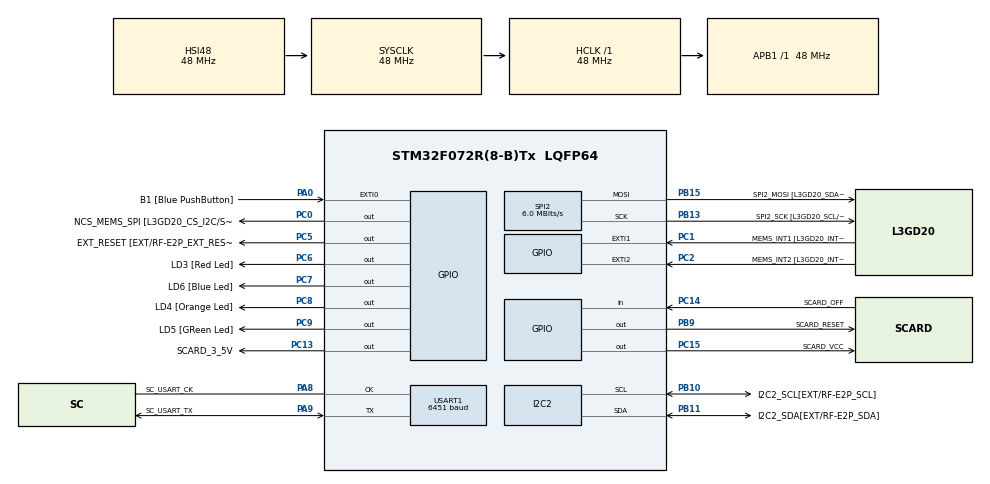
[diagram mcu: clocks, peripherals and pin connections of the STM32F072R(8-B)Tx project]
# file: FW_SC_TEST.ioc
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I2C2.Timing=0x20303E5D
Mcu.Family=STM32F0
Mcu.Name=STM32F072R(8-B)Tx
Mcu.Package=LQFP64
PA0.GPIO_Label=B1 [Blue PushButton]
PA0.GPIO_ModeDefaultEXTI=GPIO_MODE_EVT_RISING
PA0.Signal=GPXTI0
PA11.GPIO_Label=USBF4_DM
PA11.Signal=USB_DM
PA12.GPIO_Label=USBF4_DP
PA12.Signal=USB_DP
PA13.GPIO_Label=SWDIO
PA13.Signal=SYS_SWDIO
PA14.GPIO_Label=SWCLK
PA14.Signal=SYS_SWCLK
PA2.Signal=TSC_G1_IO3
PA3.Signal=TSC_G1_IO4
PA6.Signal=TSC_G2_IO3
PA7.Signal=TSC_G2_IO4
PA8.GPIO_Label=SC_USART_CK
PA8.Mode=SmartCard_With_Clock
PA8.Signal=USART1_CK
PA9.GPIO_Label=SC_USART_TX
PA9.Mode=SmartCard_With_Clock
PA9.Signal=USART1_TX
PB0.Signal=TSC_G3_IO2
PB1.Signal=TSC_G3_IO3
PB10.GPIO_Label=I2C2_SCL[EXT/RF-E2P_SCL]
PB10.Mode=I2C
PB10.Signal=I2C2_SCL
PB11.GPIO_Label=I2C2_SDA[EXT/RF-E2P_SDA]
PB11.Mode=I2C
PB11.Signal=I2C2_SDA
PB13.GPIO_Label=SPI2_SCK [L3GD20_SCL/SPC,LCD_SCL]
PB13.Mode=TX_Only_Simplex_Unidirect_Master
PB13.Signal=SPI2_SCK
PB14.GPIO_Label=SPI2_MISO [L3GD20_SDO]
PB14.Signal=SPI2_MISO
PB15.GPIO_Label=SPI2_MOSI [L3GD20_SDA/SDI, LCD_SDA]
PB15.Mode=TX_Only_Simplex_Unidirect_Master
PB15.Signal=SPI2_MOSI
PB9.GPIO_Label=SCARD_RESET
PB9.GPIO_Speed=GPIO_SPEED_FREQ_MEDIUM
PB9.PinState=GPIO_PIN_SET
PB9.Signal=GPIO_Output
PC0.GPIO_Label=NCS_MEMS_SPI [L3GD20_CS_I2C/SPI]
PC0.Signal=GPIO_Output
PC1.GPIO_Label=MEMS_INT1 [L3GD20_INT1]
PC1.GPIO_ModeDefaultEXTI=GPIO_MODE_EVT_RISING
PC1.Signal=GPXTI1
PC13.GPIO_Label=SCARD_3_5V
PC13.Signal=GPIO_Output
PC14-OSC32_IN.GPIO_Label=SCARD_OFF
PC14-OSC32_IN.Signal=GPIO_Input
PC15-OSC32_OUT.GPIO_Label=SCARD_VCC
PC15-OSC32_OUT.PinState=GPIO_PIN_SET
PC15-OSC32_OUT.Signal=GPIO_Output
PC2.GPIO_Label=MEMS_INT2 [L3GD20_INT2]
PC2.GPIO_ModeDefaultEXTI=GPIO_MODE_EVT_RISING
PC2.Signal=GPXTI2
PC5.GPIO_Label=EXT_RESET [EXT/RF-E2P_EXT_RESET]
PC5.Signal=GPIO_Output
PC6.GPIO_Label=LD3 [Red Led]
PC6.Signal=GPIO_Output
PC7.GPIO_Label=LD6 [Blue Led]
PC7.Signal=GPIO_Output
PC8.GPIO_Label=LD4 [Orange Led]
PC8.Signal=GPIO_Output
PC9.GPIO_Label=LD5 [GReen Led]
PC9.Signal=GPIO_Output
ProjectManager.HeapSize=0x200
ProjectManager.StackSize=0x400
ProjectManager.TargetToolchain=MDK-ARM V5
RCC.AHBFreq_Value=48000000
RCC.APB1Freq_Value=48000000
RCC.APB1TimFreq_Value=48000000
RCC.FLatency=FLASH_LATENCY_1
RCC.HCLKFreq_Value=48000000
RCC.SYSCLKFreq_VALUE=48000000
RCC.SYSCLKSource=RCC_SYSCLKSOURCE_HSI48
RCC.Usart1ClockSelection=RCC_USART1CLKSOURCE_SYSCLK
SPI2.BaudRatePrescaler=SPI_BAUDRATEPRESCALER_8
SPI2.CalculateBaudRate=6.0 MBits/s
SPI2.DataSize=SPI_DATASIZE_8BIT
SPI2.Direction=SPI_DIRECTION_2LINES
SPI2.Mode=SPI_MODE_MASTER
SPI2.NSSPMode=SPI_NSS_PULSE_DISABLE
SPI2.VirtualType=VM_MASTER
USART1.AutoRetryCount=3
USART1.BaudRate=6451
USART1.BlockLength=16
USART1.CLKLastBit=SMARTCARD_LASTBIT_DISABLE
USART1.CLKPhase=SMARTCARD_PHASE_1EDGE
USART1.CLKPolarity=SMARTCARD_POLARITY_LOW
USART1.CalculateSpeed=2.4 MHz
USART1.DMADisableonRxErrorParam=SMARTCARD_ADVFEATURE_DMA_ENABLEONRXERROR
USART1.DataInvertParam=SMARTCARD_ADVFEATURE_DATAINV_DISABLE
USART1.GuardTime=2
USART1.MSBFirstParam=SMARTCARD_ADVFEATURE_MSBFIRST_DISABLE
USART1.OneBitSampling=SMARTCARD_ONE_BIT_SAMPLE_DISABLE
USART1.OverrunDisableParam=SMARTCARD_ADVFEATURE_OVERRUN_ENABLE
USART1.Parity=PARITY_EVEN
USART1.Prescaler=10
USART1.RxPinLevelInvertParam=SMARTCARD_ADVFEATURE_RXINV_DISABLE
USART1.StopBits=STOPBITS_1_5
USART1.SwapParam=SMARTCARD_ADVFEATURE_SWAP_DISABLE
USART1.TxPinLevelInvertParam=SMARTCARD_ADVFEATURE_TXINV_DISABLE
USART1.VirtualClockMode=VM_SMARTCARD
USART1.VirtualMode-SmartCard_With_Clock=VM_SMARTCARD
USART1.WordLength=WORDLENGTH_9B
board=FW_SC_TEST

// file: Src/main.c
/**
  ******************************************************************************
  * File Name          : main.c
  * Description        : Main program body
  ******************************************************************************
  ** This notice applies to any and all portions of this file
  * that are not between comment pairs USER CODE BEGIN and
  * USER CODE END. Other portions of this file, whether
  * inserted by the user or by software development tools
  * are owned by their respective copyright owners.
  *
  * COPYRIGHT(c) 2017 STMicroelectronics
  *
  * Redistribution and use in source and binary forms, with or without modification,
  * are permitted provided that the following conditions are met:
  *   1. Redistributions of source code must retain the above copyright notice,
  *      this list of conditions and the following disclaimer.
  *   2. Redistributions in binary form must reproduce the above copyright notice,
  *      this list of conditions and the following disclaimer in the documentation
  *      and/or other materials provided with the distribution.
  *   3. Neither the name of STMicroelectronics nor the names of its contributors
  *      may be used to endorse or promote products derived from this software
  *      without specific prior written permission.
  *
  * THIS SOFTWARE IS PROVIDED BY THE COPYRIGHT HOLDERS AND CONTRIBUTORS "AS IS"
  * AND ANY EXPRESS OR IMPLIED WARRANTIES, INCLUDING, BUT NOT LIMITED TO, THE
  * IMPLIED WARRANTIES OF MERCHANTABILITY AND FITNESS FOR A PARTICULAR PURPOSE ARE
  * DISCLAIMED. IN NO EVENT SHALL THE COPYRIGHT HOLDER OR CONTRIBUTORS BE LIABLE
  * FOR ANY DIRECT, INDIRECT, INCIDENTAL, SPECIAL, EXEMPLARY, OR CONSEQUENTIAL
  * DAMAGES (INCLUDING, BUT NOT LIMITED TO, PROCUREMENT OF SUBSTITUTE GOODS OR
  * SERVICES; LOSS OF USE, DATA, OR PROFITS; OR BUSINESS INTERRUPTION) HOWEVER
  * CAUSED AND ON ANY THEORY OF LIABILITY, WHETHER IN CONTRACT, STRICT LIABILITY,
  * OR TORT (INCLUDING NEGLIGENCE OR OTHERWISE) ARISING IN ANY WAY OUT OF THE USE
  * OF THIS SOFTWARE, EVEN IF ADVISED OF THE POSSIBILITY OF SUCH DAMAGE.
  *
  ******************************************************************************
  */
#include "main.h"
#include "stm32f0xx_hal.h"
#include "i2c.h"
#include "spi.h"
#include "usart.h"
#include "gpio.h"

/* USER CODE BEGIN PV */
/* Private variables ---------------------------------------------------------*/
#define SMARTCARD_HANDLE hsmartcard1
extern SMARTCARD_HandleTypeDef hsmartcard1;

/* USER CODE END PV */

void SystemClock_Config(void);

/* USER CODE BEGIN PFP */
/* Private function prototypes -----------------------------------------------*/
#define SC_VOLTAGE_5V GPIO_PIN_SET
#define SC_VOLTAGE_3V GPIO_PIN_RESET

#define SC_VoltageConfig5V()  HAL_GPIO_WritePin(SCARD_3_5V_GPIO_Port, SCARD_3_5V_Pin, GPIO_PIN_SET)
#define SC_VoltageConfig3V()  HAL_GPIO_WritePin(SCARD_3_5V_GPIO_Port, SCARD_3_5V_Pin, GPIO_PIN_RESET)

#define SC_PowerCmdHigh()     HAL_GPIO_WritePin(SCARD_VCC_GPIO_Port, SCARD_VCC_Pin, GPIO_PIN_SET)
#define SC_PowerCmdLow()      HAL_GPIO_WritePin(SCARD_VCC_GPIO_Port, SCARD_VCC_Pin, GPIO_PIN_RESET)

#define SC_ResetHigh()        HAL_GPIO_WritePin(SCARD_RESET_GPIO_Port, SCARD_RESET_Pin, GPIO_PIN_SET)
#define SC_ResetLow()         HAL_GPIO_WritePin(SCARD_RESET_GPIO_Port, SCARD_RESET_Pin, GPIO_PIN_RESET)

#define GREEN_LED_ON() HAL_GPIO_WritePin(LD5_GPIO_Port, LD5_Pin, GPIO_PIN_SET )
#define GREEN_LED_OFF() HAL_GPIO_WritePin(LD5_GPIO_Port, LD5_Pin, GPIO_PIN_RESET )
#define RED_LED_ON() HAL_GPIO_WritePin(LD3_GPIO_Port, LD3_Pin, GPIO_PIN_SET )
#define RED_LED_OFF() HAL_GPIO_WritePin(LD3_GPIO_Port, LD3_Pin, GPIO_PIN_RESET )
#define BLUE_LED_ON() HAL_GPIO_WritePin(LD6_GPIO_Port, LD6_Pin, GPIO_PIN_SET )
#define BLUE_LED_OFF() HAL_GPIO_WritePin(LD6_GPIO_Port, LD6_Pin, GPIO_PIN_RESET )

static int8_t SC_Detect(void)
{
   return (HAL_GPIO_ReadPin(SCARD_OFF_GPIO_Port, SCARD_OFF_Pin) == GPIO_PIN_SET );
}
void SC_PowerOff(void)
{
   SC_ResetLow();
   /* Disable CMDVCC */
   SC_PowerCmdHigh();
}

/* USER CODE END PFP */

/* USER CODE BEGIN 0 */
int state = 0;
uint8_t ATR[16];
uint8_t ATR_length;
#define ATR_MAX_LENGTH 16
uint8_t command[5] = { //// CLA, INS, P1, P2, LEN
   0,
   0xB6, // read system
   0,    // add High
   0x0C, // address Low
   4  // read 4 bytes
};
uint8_t manu[7];
static void SC_SendByteCard(uint8_t SCData)
{
   unsigned char ch;
   while(SC_Detect()) {
      HAL_SMARTCARD_Transmit(&SMARTCARD_HANDLE, &SCData, 1, 300);
      if ( __HAL_SMARTCARD_GET_FLAG(&SMARTCARD_HANDLE, SMARTCARD_FLAG_FE) == SET) {
         ch = SMARTCARD_HANDLE.Instance->RDR;
         continue;
      }
      /* If a Noise error is signaled by the card */
      do {
         /* Clear the UART1 Frame noise flag */
         ch = SMARTCARD_HANDLE.Instance->RDR;
         if ( !SC_Detect()) break;
      } while (__HAL_SMARTCARD_GET_FLAG(&SMARTCARD_HANDLE, SMARTCARD_FLAG_NE) == SET);
      break;
   }
}
void ISO_send_command(uint8_t *command, uint8_t len )
{
   uint16_t i;
   for ( i = 0; i < len; i ++ ) {
      SC_SendByteCard( *command++ );
   }
}
/* USER CODE END 0 */

int main(void)
{

  /* MCU Configuration----------------------------------------------------------*/

  /* Reset of all peripherals, Initializes the Flash interface and the Systick. */
  HAL_Init();

  /* Configure the system clock */
  SystemClock_Config();

  /* Initialize all configured peripherals */
  MX_GPIO_Init();
  MX_I2C2_Init();
  MX_SPI2_Init();
  MX_USART1_SMARTCARD_Init();

  /* USER CODE BEGIN 2 */
   SC_PowerOff();
   /* Select 3 V for smart card */
   SC_VoltageConfig3V();

  GREEN_LED_ON();
  RED_LED_ON();
  BLUE_LED_ON();
  HAL_Delay(1000);
  GREEN_LED_OFF();
  RED_LED_OFF();
  BLUE_LED_OFF();
  /* USER CODE END 2 */

  /* Infinite loop */
  /* USER CODE BEGIN WHILE */
  while (1)
  {
      HAL_StatusTypeDef status;
  /* USER CODE END WHILE */

  /* USER CODE BEGIN 3 */
     switch( state ) {
       case 0:

         if( SC_Detect()) { // smart card detected
            uint32_t manu_code;
            state = 1;
            BLUE_LED_ON();
            HAL_Delay(300);
            /* Enable CMDVCC */
            SC_PowerCmdLow();
            /* reset card sequence */
            SC_ResetLow();
            HAL_Delay(200);
            SC_ResetHigh();
            status = HAL_SMARTCARD_Receive(&SMARTCARD_HANDLE, ATR, ATR_MAX_LENGTH, 1500 );
            ATR_length = SMARTCARD_HANDLE.RxXferSize- SMARTCARD_HANDLE.RxXferCount;
            if ( status != HAL_OK )
               ATR_length--;
            if ( ATR_length != 8 ) break;
            // ATR_length == 8
            HAL_Delay(200);
            // veriy MANUFACTURE code in configuration, address 0, C

            ISO_send_command(command, 5 );

            status = HAL_SMARTCARD_Receive(&SMARTCARD_HANDLE, manu, 7, 1000 );
            // Send data:    00 B6 00 0C 04: CLA INS P1 P2 LEN
            // receive data: B6 7F 94 89 10 90 00
            // where
            // [B6] ACK of INS
            // [7F 94 89 10] are return bytes
            // [90 00] is status
            if ( status != HAL_OK ) {
                RED_LED_ON();
                BLUE_LED_OFF();
                break;
            }
            //
#define MANUCODE 0x7F948910
            manu_code = manu[1];
            manu_code = (manu_code << 8) + manu[2];
            manu_code = (manu_code << 8) + manu[3];
            manu_code = (manu_code << 8) + manu[4];
            if ( manu_code == MANUCODE ) {
               GREEN_LED_ON();
            } else
               RED_LED_ON();

         }
         break;
       case 1:
         if( !SC_Detect()) { // smart card not detected
            __HAL_SMARTCARD_CLEAR_FEFLAG(&SMARTCARD_HANDLE);
            __HAL_SMARTCARD_CLEAR_NEFLAG(&SMARTCARD_HANDLE);
            __HAL_SMARTCARD_CLEAR_OREFLAG(&SMARTCARD_HANDLE);
            BLUE_LED_OFF();
            GREEN_LED_OFF();
            RED_LED_OFF();

            SC_PowerOff(); // power off card controls
            state = 0;
         }
         break;
      }
  }
  /* USER CODE END 3 */

}

/** System Clock Configuration
*/
void SystemClock_Config(void)
{

  RCC_OscInitTypeDef RCC_OscInitStruct;
  RCC_ClkInitTypeDef RCC_ClkInitStruct;
  RCC_PeriphCLKInitTypeDef PeriphClkInit;

    /**Initializes the CPU, AHB and APB busses clocks
    */
  RCC_OscInitStruct.OscillatorType = RCC_OSCILLATORTYPE_HSI48;
  RCC_OscInitStruct.HSI48State = RCC_HSI48_ON;
  RCC_OscInitStruct.PLL.PLLState = RCC_PLL_NONE;
  if (HAL_RCC_OscConfig(&RCC_OscInitStruct) != HAL_OK)
  {
    _Error_Handler(__FILE__, __LINE__);
  }

    /**Initializes the CPU, AHB and APB busses clocks
    */
  RCC_ClkInitStruct.ClockType = RCC_CLOCKTYPE_HCLK|RCC_CLOCKTYPE_SYSCLK
                              |RCC_CLOCKTYPE_PCLK1;
  RCC_ClkInitStruct.SYSCLKSource = RCC_SYSCLKSOURCE_HSI48;
  RCC_ClkInitStruct.AHBCLKDivider = RCC_SYSCLK_DIV1;
  RCC_ClkInitStruct.APB1CLKDivider = RCC_HCLK_DIV1;

  if (HAL_RCC_ClockConfig(&RCC_ClkInitStruct, FLASH_LATENCY_1) != HAL_OK)
  {
    _Error_Handler(__FILE__, __LINE__);
  }

  PeriphClkInit.PeriphClockSelection = RCC_PERIPHCLK_USART1;
  PeriphClkInit.Usart1ClockSelection = RCC_USART1CLKSOURCE_SYSCLK;
  if (HAL_RCCEx_PeriphCLKConfig(&PeriphClkInit) != HAL_OK)
  {
    _Error_Handler(__FILE__, __LINE__);
  }

    /**Configure the Systick interrupt time
    */
  HAL_SYSTICK_Config(HAL_RCC_GetHCLKFreq()/1000);

    /**Configure the Systick
    */
  HAL_SYSTICK_CLKSourceConfig(SYSTICK_CLKSOURCE_HCLK);

  /* SysTick_IRQn interrupt configuration */
  HAL_NVIC_SetPriority(SysTick_IRQn, 0, 0);
}

void _Error_Handler(char * file, int line)
{
  while(1)
  {
  }
}

/************************ (C) COPYRIGHT STMicroelectronics *****END OF FILE****/
